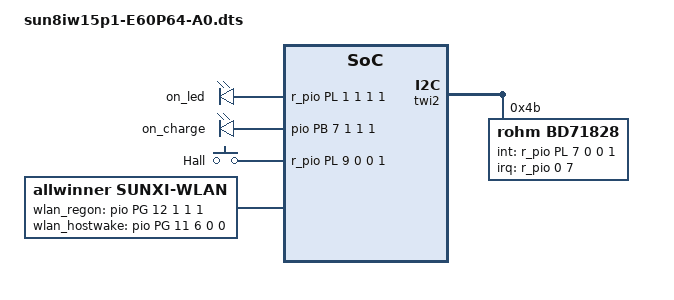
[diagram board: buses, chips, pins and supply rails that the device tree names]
/*
 * Allwinner Technology CO., Ltd. sun8iw15p1 soc board.
 *
 * soc board support.
 */

/dts-v1/;

#include "sun8iw15p1-eink_128m.dtsi"
#include "sun8iw15p1-ntx_common.dtsi"

/{
clocks {
		clk_ee: ee {
                        #clock-cells = <0>;
                        compatible = "allwinner,periph-clock";
                        assigned-clocks = <&clk_ee>;
                        assigned-clock-rates = <150000000>;
                        clock-output-names = "ee";
                };
};

opp_dvfs_table:opp_dvfs_table {
		cluster_num = <1>;
		opp_table_count = <1>;

		cpu_opp_l_table0: opp_l_table0 {
			/* compatible = "operating-points-v2"; */
			compatible = "allwinner,opp_l_table0";
			opp_count = <5>;
			opp-shared;

			opp00 {
				opp-hz = /bits/ 64 <480000000>;
				opp-microvolt = <880000>;
				axi-bus-divide-ratio = <3>;
				clock-latency-ns = <2000000>;
			};

			opp01 {
				opp-hz = /bits/ 64 <720000000>;
				opp-microvolt = <880000>;
				axi-bus-divide-ratio = <3>;
				clock-latency-ns = <2000000>;
			};

			opp02 {
				opp-hz = /bits/ 64 <816000000>;
				opp-microvolt = <880000>;
				axi-bus-divide-ratio = <3>;
				clock-latency-ns = <2000000>;
			};

			opp03 {
				opp-hz = /bits/ 64 <1008000000>;
				opp-microvolt = <880000>;
				axi-bus-divide-ratio = <3>;
				clock-latency-ns = <2000000>;
			};

			opp04 {
				opp-hz = /bits/ 64 <1200000000>;
				opp-microvolt = <940000>;
				axi-bus-divide-ratio = <3>;
				clock-latency-ns = <2000000>;
			};

			opp05 {
				opp-hz = /bits/ 64 <1416000000>;
				opp-microvolt = <1000000>;
				axi-bus-divide-ratio = <3>;
				clock-latency-ns = <2000000>;
			};

			opp06 {
				opp-hz = /bits/ 64 <1512000000>;
				opp-microvolt = <1040000>;
				axi-bus-divide-ratio = <3>;
				clock-latency-ns = <2000000>;
			};

			opp07 {
				opp-hz = /bits/ 64 <1608000000>;
				opp-microvolt = <1160000>;
				axi-bus-divide-ratio = <3>;
				clock-latency-ns = <2000000>;
			};

			opp08 {
				opp-hz = /bits/ 64 <1800000000>;
				opp-microvolt = <1160000>;
				axi-bus-divide-ratio = <3>;
				clock-latency-ns = <2000000>;
			};
		};
	};
	soc@03000000 {
		r_pio: pinctrl@07022000 {
			pinctrl-names = "default";
			pinctrl-0 = <&unused_pads>;

			gpiokeys_pins_default: gpio-keys@0 {
				allwinner,pins = "PL11", "PL5";
				allwinner,function = "gpiokeys_def";
				allwinner,muxsel = <6>; /* INT */
				allwinner,drive = <0>; 
				allwinner,pull = <1>; /* PULL UP */
			};
			gpiokeys_pins_hibernation: gpio-keys@1 {
				allwinner,pins = "PL11", "PL5";
				allwinner,function = "gpiokeys_hiber";
				allwinner,muxsel = <0>; /* INPUT */
				allwinner,drive = <0>; 
				allwinner,pull = <2>; /* PULL DOWN */
			};
			unused_pads: r_pio@0 {
				allwinner,pins = "PL6", "PL10"; /* TUSB_INT & MSP_INT */
				allwinner,function = "unused_pads";
				allwinner,muxsel = <0>; /* INPUT */
				allwinner,drive = <0>; 
				allwinner,pull = <2>; /* PULL DOWN */
			};
			
		};
		

		pmu0: pmu0@0{
			interrupts = <GIC_SPI 84 IRQ_TYPE_LEVEL_HIGH>;
			status = "disabled";

			powerkey0: powerkey@0{
				status = "disabled";
			};

			regulator0: regulator@0{
				status = "disabled";
			};

			axp_gpio0: axp_gpio@0{
				gpio-controller;
				#size-cells = <0>;
				#gpio-cells = <6>;
				status = "disabled";
			};

		};

		pmu1: pmu1@0{
			interrupts = <GIC_SPI 84 IRQ_TYPE_LEVEL_HIGH>;
			status = "disabled";
			device_type = "pmu1";

			charger0: charger@0{
				status = "disabled";
			};
		};
#include "rohmbd71828_b300.dtsi"
		gpio-leds {
			compatible = "gpio-leds";

			GLED {
				label = "on_led";
				retain-state-suspended;
				gpios = <&r_pio PL 1 1 1 1 1>;
			};

			RLED {
				label = "on_charge";
				retain-state-suspended;
				gpios = <&pio PB 7 1 1 1 1>;
			};
		};

		gpio-keys {
			compatible = "gpio-keys";
			pinctrl-names = "default" , "sleep" ;
			pinctrl-0 = <&gpiokeys_pins_default>;
			pinctrl-1 = <&gpiokeys_pins_hibernation>;
			autorepeat;

			hall {
				label = "Hall";
				linux,code = <KEY_H>;
				gpios = <&r_pio PL 9 0 0 1 1>;
				wakeup-source;
			};



		};
	};

	wlan:wlan {
		compatible = "allwinner,sunxi-wlan";
		clocks = <&clk_losc_out>;
		/*wlan_power = "vcc-wifi";*/
		/*wlan_io_regulator = "vcc-wifi-io";*/
		wlan_busnum = <1>;
		wlan_regon = <&pio PG 12 1 1 1 0>;
		wlan_hostwake = <&pio PG 11 6 0 0 0>;
		status = "okay";
	};

	bt:bt {
		compatible = "allwinner,sunxi-bt";
		clocks = <&clk_losc_out>;
		/*bt_power = "vcc-wifi";*/
		/*bt_io_regulator = "vcc-wifi-io";*/
		#bt_rst_n = <&r_pio PL 2 1 1 1 0>;
		status = "disabled";
	};

	btlpm:btlpm {
		compatible = "allwinner,sunxi-btlpm";
		uart_index = <1>;
		#bt_wake = <&r_pio PL 7 1 1 1 1>;
		#bt_hostwake = <&r_pio PL 4 6 0 0 0>;
		status = "disabled";
	};
};


&twi2 {
    bd71828: bd71828-i2c@4b {
        compatible = "rohm,bd71828";
		pinctrl-names = "PMIC_BD71828";
        reg = <0x4b>;
		interrupt-parent = <&r_pio>;
		interrupts = <0 7 IRQ_TYPE_EDGE_FALLING>; /* PL7 */
		gpio_int = <&r_pio PL 7 0 0 1 0>;
    };
};
